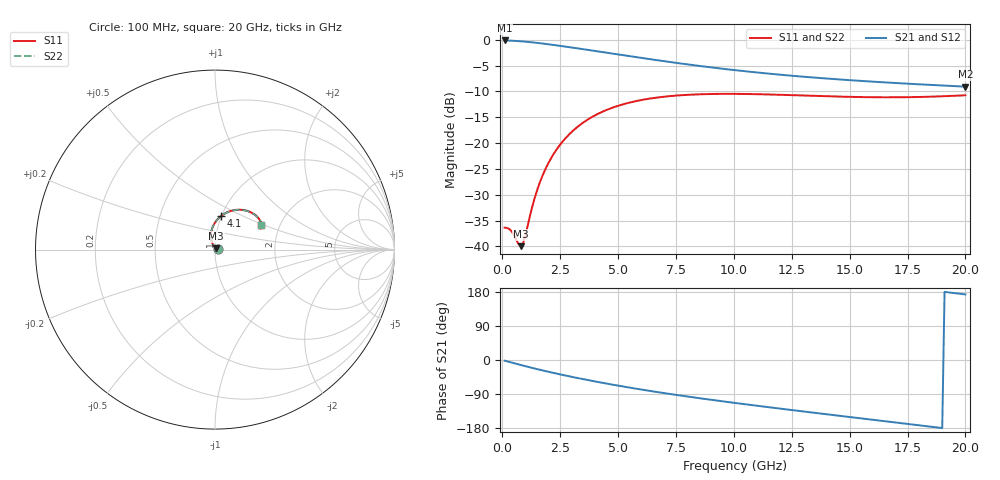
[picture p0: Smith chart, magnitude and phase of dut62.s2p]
! Touchstone file exported from HFSS 2024.1.0
!  File:  C:/UserFiles/LocalFiles/RDL_TSV_Batchsim/temp_RDL_TSV_62_1779409405.aedt
!  Generated:  08:38:48 AM May 22, 2026
!  Design:  RDL_TSV
!  Project:  temp_RDL_TSV_62_1779409405
!  Setup:  Setup1
!  Solution:  Sweep
! Variables:
!  dtsv = 8.61um
!  hbump = 3um
!  htsv = 91.45um
!  ldown = 432.61um
!  lrdl = 281.82um
!  p = 40
!  p1 = 52.31um
!  rhole = 10um
!  subl = 2425.11um
!  t = 450um
!  tdown = 3.53um
!  trdl = 2.46um
!  viad = 10um
!  wdown = 17.15um
!  wrdl = 25.02um
!  xbump = 18um
# GHz S MA R 50.000000
! Terminal data exported
! Port[1] = TM1_1_T1
! Port[2] = TM1_4_T1
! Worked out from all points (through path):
!   200 points, 100 MHz to 20 GHz, reference 50 ohm
!   highest |S21| = -0.14 dB at 100 MHz (marker M1); lowest = -9.1 dB at 20 GHz (marker M2)
!   group delay of S21, straight-line fit = 24.3 ps
!   lowest |S11| = -40.0 dB at 800 MHz (marker M3), VSWR 1.02, Z = 50.6 + j0.823 ohm
!   |S11| at or under -10 dB: start of sweep to end of sweep
!   |S22| runs from -40.0 to -10.5 dB; largest |S21 - S12| = 1.4e-14
!   S11 on the Smith chart (normalised r, x): 100 MHz: 1.03, +0.00; 4.1 GHz: 1.00, +0.39; 20 GHz: 1.59, +0.48
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0.1  0.01517 3.9  0.9844 -1.7  0.9844 -1.7  0.01517 3.9
! Gamma 0 0 0 0
! Port Impedance 50 0 50 0
0.4  0.01398 13.6  0.9791 -6.7  0.9791 -6.7  0.01398 13.6
0.7  0.01051 37.7  0.9701 -11.6  0.9701 -11.6  0.01052 37.6
0.8  0.01004 54.1  0.9665 -13.2  0.9665 -13.2  0.01004 53.9
0.9  0.01075 72.4  0.9625 -14.8  0.9625 -14.8  0.01074 72.2
1  0.0128 87.8  0.9582 -16.4  0.9582 -16.4  0.01278 87.7
1.3  0.02446 109.1  0.9437 -21.0  0.9437 -21.0  0.0244 109.0
1.5  0.03475 112.3  0.9329 -24.0  0.9329 -24.0  0.03466 112.3
1.9  0.05826 110.9  0.9097 -29.8  0.9097 -29.8  0.05813 110.8
2.2  0.07725 107.3  0.8914 -34.0  0.8914 -34.0  0.07708 107.3
2.6  0.103 101.5  0.8664 -39.3  0.8664 -39.3  0.1028 101.5
3  0.1284 95.4  0.8412 -44.5  0.8412 -44.5  0.1281 95.4
3.5  0.1582 88.0  0.81 -50.6  0.81 -50.6  0.1579 88.0
4.1  0.1902 79.8  0.7734 -57.7  0.7734 -57.7  0.1899 79.8
5.3  0.2401 65.5  0.7044 -70.8  0.7044 -70.8  0.2396 65.5
6.8  0.2778 51.6  0.6286 -85.6  0.6286 -85.6  0.2773 51.6
8.4  0.2958 40.8  0.5621 -99.9  0.5621 -99.9  0.2952 40.8
10.1  0.2993 32.8  0.5063 -113.7  0.5063 -113.7  0.2986 32.8
11.7  0.2946 28.0  0.4654 -126.1  0.4654 -126.1  0.2939 28.0
13.4  0.2866 25.3  0.4315 -138.8  0.4315 -138.8  0.2859 25.4
16.7  0.2771 25.6  0.3845 -162.9  0.3845 -162.9  0.2765 25.6
20  0.2901 28.7  0.3516 173.1  0.3516 173.1  0.2896 28.8
